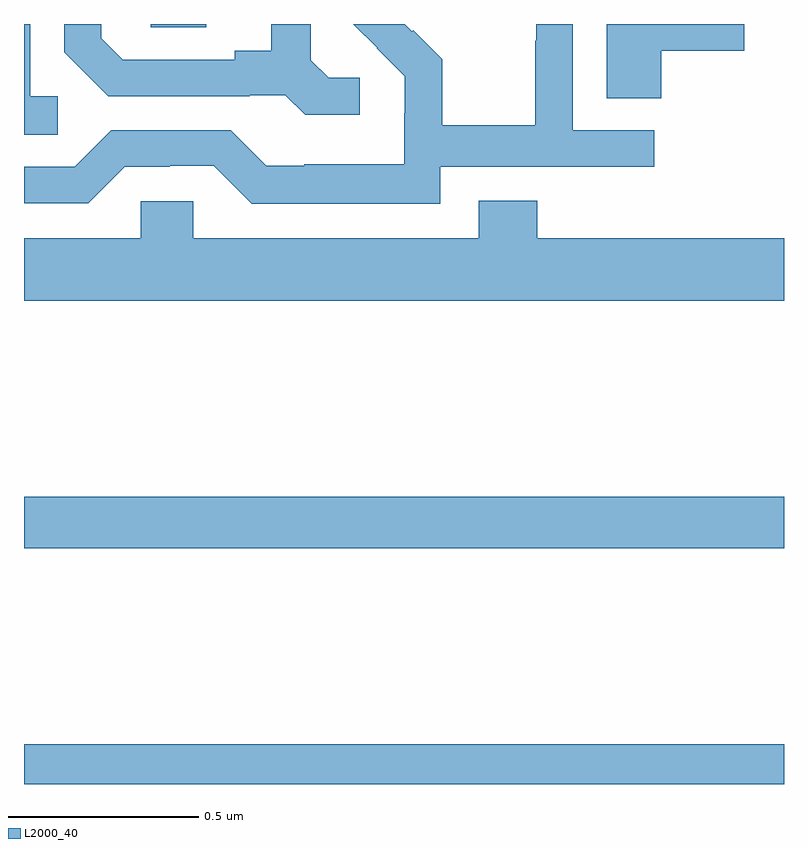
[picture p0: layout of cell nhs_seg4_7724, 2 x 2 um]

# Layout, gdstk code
import gdstk
lib = gdstk.Library(unit=1e-6, precision=1e-09)
def R(c, l, rs):  # rectangles x0, y0, x1, y1
    for r in rs: c.add(gdstk.rectangle(r[:2], r[2:], *l))
def P(c, l, *ps):  # polygons
    for p in ps: c.add(gdstk.Polygon(p, *l))
L2000_40 = (2000, 40)

nhs_seg4_7724 = lib.new_cell('nhs_seg4_7724')
R(nhs_seg4_7724, L2000_40, [(206,776.9,208,777.004), (206,777.52,208,777.656), (206.334,778.891,206.479,778.9)])
P(nhs_seg4_7724, L2000_40, [(206.089,778.71),(206.016,778.71),(206.016,778.9),(206,778.9),(206,778.609),(206.089,778.609)],
  [(207.677,778.829),(207.895,778.829),(207.895,778.9),(207.533,778.9),(207.533,778.705),(207.677,778.705)],
  [(207.096,778.524),(207.658,778.524),(207.658,778.62),(207.444,778.62),(207.444,778.9),(207.348,778.9),(207.348,778.856),(207.346,778.856),(207.346,778.633),(207.101,778.633),(207.101,778.807),(207.024,778.884),(207.021,778.881),(207.002,778.9),(206.866,778.9),(206.929,778.837),(206.928,778.836),(207.002,778.762),(207.002,778.665),(207,778.665),(207,778.531),(206.737,778.531),(206.737,778.527),(206.637,778.527),(206.544,778.62),(206.229,778.62),(206.133,778.524),(206,778.524),(206,778.428),(206.169,778.428),(206.265,778.524),(206.384,778.524),(206.384,778.527),(206.499,778.527),(206.599,778.427),(207.096,778.427)],
  [(206.884,778.758),(206.802,778.758),(206.755,778.805),(206.755,778.9),(206.651,778.9),(206.651,778.829),(206.555,778.829),(206.555,778.806),(206.26,778.806),(206.203,778.863),(206.203,778.9),(206.106,778.9),(206.106,778.826),(206.222,778.71),(206.594,778.71),(206.594,778.713),(206.688,778.713),(206.74,778.661),(206.884,778.661)],
  [(208,778.336),(207.35,778.336),(207.35,778.435),(207.197,778.435),(207.197,778.336),(206.445,778.336),(206.445,778.434),(206.307,778.434),(206.307,778.336),(206,778.336),(206,778.172),(208,778.172)])

lib.write_gds('nhs_seg4_7724.gds')
